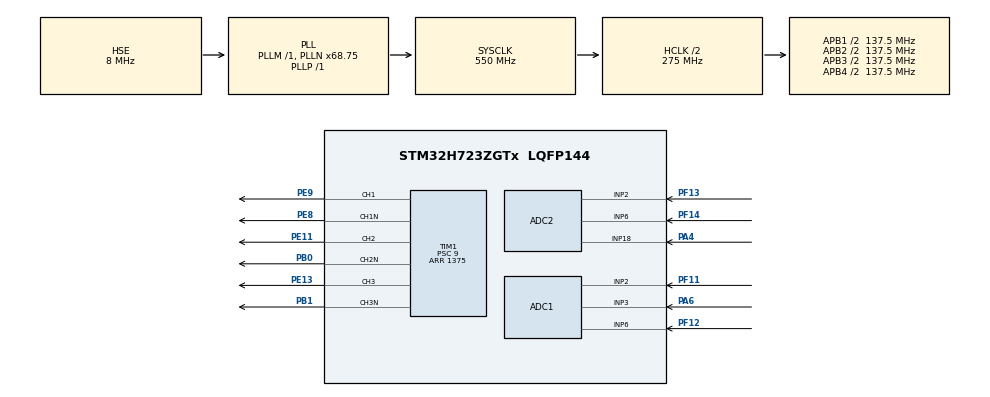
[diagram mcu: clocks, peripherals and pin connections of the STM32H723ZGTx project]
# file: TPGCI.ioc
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ADC1.Channel-1\#ChannelRegularConversion=ADC_CHANNEL_2
ADC1.Channel-2\#ChannelRegularConversion=ADC_CHANNEL_3
ADC1.Channel-3\#ChannelRegularConversion=ADC_CHANNEL_6
ADC1.ClockPrescaler=ADC_CLOCK_ASYNC_DIV4
ADC1.ContinuousConvMode=ENABLE
ADC1.ConversionDataManagement=ADC_CONVERSIONDATA_DMA_CIRCULAR
ADC1.Mode=ADC_MODE_INDEPENDENT
ADC1.NbrOfConversion=3
ADC1.NbrOfConversionFlag=1
ADC1.OffsetNumber-1\#ChannelRegularConversion=ADC_OFFSET_NONE
ADC1.OffsetNumber-2\#ChannelRegularConversion=ADC_OFFSET_NONE
ADC1.OffsetNumber-3\#ChannelRegularConversion=ADC_OFFSET_NONE
ADC1.OffsetSignedSaturation-1\#ChannelRegularConversion=DISABLE
ADC1.OffsetSignedSaturation-2\#ChannelRegularConversion=DISABLE
ADC1.OffsetSignedSaturation-3\#ChannelRegularConversion=DISABLE
ADC1.Rank-1\#ChannelRegularConversion=1
ADC1.Rank-2\#ChannelRegularConversion=2
ADC1.Rank-3\#ChannelRegularConversion=3
ADC1.Ratio=1
ADC1.SamplingTime-1\#ChannelRegularConversion=ADC_SAMPLETIME_64CYCLES_5
ADC1.SamplingTime-2\#ChannelRegularConversion=ADC_SAMPLETIME_64CYCLES_5
ADC1.SamplingTime-3\#ChannelRegularConversion=ADC_SAMPLETIME_64CYCLES_5
ADC1.master=1
ADC2.Channel-1\#ChannelRegularConversion=ADC_CHANNEL_2
ADC2.Channel-2\#ChannelRegularConversion=ADC_CHANNEL_18
ADC2.Channel-3\#ChannelRegularConversion=ADC_CHANNEL_6
ADC2.ClockPrescaler=ADC_CLOCK_ASYNC_DIV4
ADC2.ContinuousConvMode=ENABLE
ADC2.ConversionDataManagement=ADC_CONVERSIONDATA_DMA_CIRCULAR
ADC2.NbrOfConversion=3
ADC2.NbrOfConversionFlag=1
ADC2.OffsetNumber-1\#ChannelRegularConversion=ADC_OFFSET_NONE
ADC2.OffsetNumber-2\#ChannelRegularConversion=ADC_OFFSET_NONE
ADC2.OffsetNumber-3\#ChannelRegularConversion=ADC_OFFSET_NONE
ADC2.OffsetSignedSaturation-1\#ChannelRegularConversion=DISABLE
ADC2.OffsetSignedSaturation-2\#ChannelRegularConversion=DISABLE
ADC2.OffsetSignedSaturation-3\#ChannelRegularConversion=DISABLE
ADC2.Rank-1\#ChannelRegularConversion=1
ADC2.Rank-2\#ChannelRegularConversion=2
ADC2.Rank-3\#ChannelRegularConversion=3
ADC2.Ratio=1
ADC2.SamplingTime-1\#ChannelRegularConversion=ADC_SAMPLETIME_64CYCLES_5
ADC2.SamplingTime-2\#ChannelRegularConversion=ADC_SAMPLETIME_64CYCLES_5
ADC2.SamplingTime-3\#ChannelRegularConversion=ADC_SAMPLETIME_64CYCLES_5
Dma.ADC1.0.Direction=DMA_PERIPH_TO_MEMORY
Dma.ADC1.0.EventEnable=DISABLE
Dma.ADC1.0.FIFOMode=DMA_FIFOMODE_DISABLE
Dma.ADC1.0.Instance=DMA1_Stream0
Dma.ADC1.0.MemDataAlignment=DMA_MDATAALIGN_HALFWORD
Dma.ADC1.0.MemInc=DMA_MINC_ENABLE
Dma.ADC1.0.Mode=DMA_CIRCULAR
Dma.ADC1.0.PeriphDataAlignment=DMA_PDATAALIGN_HALFWORD
Dma.ADC1.0.PeriphInc=DMA_PINC_DISABLE
Dma.ADC1.0.Polarity=HAL_DMAMUX_REQ_GEN_RISING
Dma.ADC1.0.Priority=DMA_PRIORITY_LOW
Dma.ADC1.0.RequestNumber=1
Dma.ADC1.0.SignalID=NONE
Dma.ADC1.0.SyncEnable=DISABLE
Dma.ADC1.0.SyncPolarity=HAL_DMAMUX_SYNC_NO_EVENT
Dma.ADC1.0.SyncRequestNumber=1
Dma.ADC1.0.SyncSignalID=NONE
Dma.ADC2.1.Direction=DMA_PERIPH_TO_MEMORY
Dma.ADC2.1.EventEnable=DISABLE
Dma.ADC2.1.FIFOMode=DMA_FIFOMODE_DISABLE
Dma.ADC2.1.Instance=DMA1_Stream1
Dma.ADC2.1.MemDataAlignment=DMA_MDATAALIGN_HALFWORD
Dma.ADC2.1.MemInc=DMA_MINC_ENABLE
Dma.ADC2.1.Mode=DMA_CIRCULAR
Dma.ADC2.1.PeriphDataAlignment=DMA_PDATAALIGN_HALFWORD
Dma.ADC2.1.PeriphInc=DMA_PINC_DISABLE
Dma.ADC2.1.Polarity=HAL_DMAMUX_REQ_GEN_RISING
Dma.ADC2.1.Priority=DMA_PRIORITY_LOW
Dma.ADC2.1.RequestNumber=1
Dma.ADC2.1.SignalID=NONE
Dma.ADC2.1.SyncEnable=DISABLE
Dma.ADC2.1.SyncPolarity=HAL_DMAMUX_SYNC_NO_EVENT
Dma.ADC2.1.SyncRequestNumber=1
Dma.ADC2.1.SyncSignalID=NONE
Dma.Request0=ADC1
Dma.Request1=ADC2
Mcu.Family=STM32H7
Mcu.Name=STM32H723ZGTx
Mcu.Package=LQFP144
NVIC.DMA1_Stream0_IRQn=true\:0\:0\:false\:false\:true\:false\:true\:true
NVIC.DMA1_Stream1_IRQn=true\:0\:0\:false\:false\:true\:false\:true\:true
NVIC.PriorityGroup=NVIC_PRIORITYGROUP_4
NVIC.TIM1_UP_IRQn=true\:0\:0\:true\:false\:true\:true\:true\:true
NVIC.TIM2_IRQn=true\:0\:0\:false\:false\:true\:true\:true\:true
PA4.Signal=ADCx_INP18
PA6.Signal=ADCx_INP3
PB0.Mode=PWM Generation2 CH2 CH2N
PB0.Signal=TIM1_CH2N
PB1.Mode=PWM Generation3 CH3 CH3N
PB1.Signal=TIM1_CH3N
PE11.Signal=S_TIM1_CH2
PE13.Signal=S_TIM1_CH3
PE8.Mode=PWM Generation1 CH1 CH1N
PE8.Signal=TIM1_CH1N
PE9.Signal=S_TIM1_CH1
PF11.Mode=IN2-Single-Ended
PF11.Signal=ADC1_INP2
PF12.Mode=IN6-Single-Ended
PF12.Signal=ADC1_INP6
PF13.Mode=IN2-Single-Ended
PF13.Signal=ADC2_INP2
PF14.Mode=IN6-Single-Ended
PF14.Signal=ADC2_INP6
PH0-OSC_IN.Mode=HSE-External-Oscillator
PH0-OSC_IN.Signal=RCC_OSC_IN
PH1-OSC_OUT.Mode=HSE-External-Oscillator
PH1-OSC_OUT.Signal=RCC_OSC_OUT
ProjectManager.HeapSize=0x200
ProjectManager.StackSize=0x400
ProjectManager.TargetToolchain=STM32CubeIDE
RCC.ADCFreq_Value=19200000
RCC.APB1Freq_Value=137500000
RCC.APB2Freq_Value=137500000
RCC.APB3Freq_Value=137500000
RCC.APB4Freq_Value=137500000
RCC.CortexFreq_Value=550000000
RCC.D1PPRE=RCC_APB3_DIV2
RCC.D2PPRE1=RCC_APB1_DIV2
RCC.D2PPRE2=RCC_APB2_DIV2
RCC.D3PPRE=RCC_APB4_DIV2
RCC.DIVM1=1
RCC.DIVM2=1
RCC.DIVN1=68
RCC.DIVN2=24
RCC.DIVP1=1
RCC.DIVP2=10
RCC.DIVQ1=4
RCC.HCLKFreq_Value=275000000
RCC.HPRE=RCC_HCLK_DIV2
RCC.HSE_VALUE=8000000
RCC.PLL2FRACN=0
RCC.PLL3FRACN=0
RCC.PLLFRACN=6144
RCC.PLLSourceVirtual=RCC_PLLSOURCE_HSE
RCC.SYSCLKFreq_VALUE=550000000
RCC.SYSCLKSource=RCC_SYSCLKSOURCE_PLLCLK
RCC.USBCLockSelection=RCC_USBCLKSOURCE_HSI48
RCC.USBFreq_Value=48000000
SH.ADCx_INP18.0=ADC2_INP18,IN18-Single-Ended
SH.ADCx_INP3.0=ADC1_INP3,IN3-Single-Ended
SH.S_TIM1_CH1.0=TIM1_CH1,PWM Generation1 CH1 CH1N
SH.S_TIM1_CH2.0=TIM1_CH2,PWM Generation2 CH2 CH2N
SH.S_TIM1_CH3.0=TIM1_CH3,PWM Generation3 CH3 CH3N
TIM1.Channel-PWM\ Generation1\ CH1\ CH1N=TIM_CHANNEL_1
TIM1.Channel-PWM\ Generation2\ CH2\ CH2N=TIM_CHANNEL_2
TIM1.Channel-PWM\ Generation3\ CH3\ CH3N=TIM_CHANNEL_3
TIM1.DeadTime=239
TIM1.Period=1375
TIM1.Prescaler=9
TIM2.Period=1375
TIM2.Prescaler=9
VP_MEMORYMAP_VS_MEMORYMAP.Mode=CurAppReg
VP_TIM2_VS_ClockSourceINT.Mode=Internal
board=NUCLEO-H723ZG

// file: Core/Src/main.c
/* USER CODE BEGIN Header */
/**
  ******************************************************************************
  * @file           : main.c
  * @brief          : Main program body
  ******************************************************************************
  * @attention
  *
  * Copyright (c) 2024 STMicroelectronics.
  * All rights reserved.
  *
  * This software is licensed under terms that can be found in the LICENSE file
  * in the root directory of this software component.
  * If no LICENSE file comes with this software, it is provided AS-IS.
  *
  ******************************************************************************
  */
/* USER CODE END Header */
#include "main.h"

/* USER CODE BEGIN Includes */
#include "TPGCI_2.h"                   /* Model header file */
#include "butterworth_filter.h"

/* USER CODE END Includes */

ADC_HandleTypeDef hadc1;
ADC_HandleTypeDef hadc2;
DMA_HandleTypeDef hdma_adc1;
DMA_HandleTypeDef hdma_adc2;

TIM_HandleTypeDef htim1;
TIM_HandleTypeDef htim2;

/* USER CODE BEGIN PV */
//********************************** Main inputs ******************************//
float VDC = 200.0f;
float IdRef = 3.0f;
float IqRef = 0.0f;
float Vd_g_Max = 200.0f;
float Vd_g_Min = -40.0f;
float vd_FF = 5.0f;
float Id_g_Max = 3.0f;
uint16_t CCRMAX=1375;
float Phase_diff = 0.20943951024f;
float VDC_f 	= 0.0f;
// ******************** Analog to Digital conversion **************************//
float VOLTAGE_R_PHASE 	= 0.0;		//ADC1 Channel 2 pin PF11
float VOLTAGE_Y_PHASE 	= 0.0;		//ADC1 Channel 3 pin PA6
float VOLTAGE_B_PHASE 	= 0.0;		//ADC1 Channel 6 pin PF12
float VOLTAGE_R_OFFSET  = 2.09;
float VOLTAGE_Y_OFFSET  = 2.09;
float VOLTAGE_B_OFFSET  = 2.07;
float VOLTAGE_R_GAIN 	= 0.0033241;
float VOLTAGE_Y_GAIN 	= 0.00334;
float VOLTAGE_B_GAIN 	= 0.00353;
float CURRENT_R_PHASE 	= 0.0;		//ADC1 Channel 2 pin PF11
float CURRENT_Y_PHASE 	= 0.0;		//ADC1 Channel 3 pin PA6
float CURRENT_B_PHASE 	= 0.0;		//ADC1 Channel 6 pin PF12
float CURRENT_R_OFFSET  = 2.0;
float CURRENT_Y_OFFSET  = 2.0;
float CURRENT_B_OFFSET  = 2.0;
float CURRENT_R_GAIN	= 8.87221255199;
float CURRENT_Y_GAIN 	= 8.87221255199;
float CURRENT_B_GAIN 	= 8.87221255199;
float VDC_GAIN 	= 312.109f;
const float VREF 		= 3.3; 			   // Reference voltage (assume 3.3V)
const uint32_t ADC_16bRESOLUTION = 65535;  // 16-bit resolution (0-65535)
const uint32_t ADC_12bRESOLUTION = 4096;   // 16-bit resolution (0-4096)
uint16_t VoltageadcBuffer[3];     //voltage buffer for DMA
uint16_t CurrentadcBuffer[3];     //current buffer for DMA
volatile int32_t CCR1 = 0;
volatile int32_t CCR2 = 0;
volatile int32_t CCR3 = 0;
float Grid_check = 0;
float Grid_init = 0;
float Grid_started = 2;
float Grid_bad = 1;
float Tim1_check=0.0f;
float Tim2_check=0.0f;
float Tim8_check=0.0f;
float ADC1_check=0.0f;
float ADC2_check=0.0f;
// Buffers to hold previous input/output values for each phase
float VoltageR_Input[3] = {0.0f, 0.0f, 0.0f};
float VoltageR_Output[3] = {0.0f, 0.0f, 0.0f};

float VoltageY_Input[3] = {0.0f, 0.0f, 0.0f};
float VoltageY_Output[3] = {0.0f, 0.0f, 0.0f};

float VoltageB_Input[3] = {0.0f, 0.0f, 0.0f};
float VoltageB_Output[3] = {0.0f, 0.0f, 0.0f};
float CurrentR_Input[3] = {0.0f, 0.0f, 0.0f};
float CurrentR_Output[3] = {0.0f, 0.0f, 0.0f};

float CurrentY_Input[3] = {0.0f, 0.0f, 0.0f};
float CurrentY_Output[3] = {0.0f, 0.0f, 0.0f};

float CurrentB_Input[3] = {0.0f, 0.0f, 0.0f};
float CurrentB_Output[3] = {0.0f, 0.0f, 0.0f};

float VDC_Input[3] = {0.0f, 0.0f, 0.0f};
float VDC_Output[3] = {0.0f, 0.0f, 0.0f};
#define BUFFER_SIZE 4

/* USER CODE END PV */

void SystemClock_Config(void);
void PeriphCommonClock_Config(void);
static void MX_GPIO_Init(void);
static void MX_DMA_Init(void);
static void MX_TIM1_Init(void);
static void MX_ADC1_Init(void);
static void MX_ADC2_Init(void);
static void MX_TIM2_Init(void);

int main(void)
{

  /* MCU Configuration--------------------------------------------------------*/

  /* Reset of all peripherals, Initializes the Flash interface and the Systick. */
  HAL_Init();

  /* Configure the system clock */
  SystemClock_Config();

  /* Configure the peripherals common clocks */
  PeriphCommonClock_Config();

  /* Initialize all configured peripherals */
  MX_GPIO_Init();
  MX_DMA_Init();
  MX_TIM1_Init();
  MX_ADC1_Init();
  MX_ADC2_Init();
  MX_TIM2_Init();
  /* USER CODE BEGIN 2 */
//  HAL_TIM_Base_Start_IT(&htim2);
  HAL_TIM_Base_Start_IT(&htim2);
  HAL_TIM_Base_Start_IT(&htim1);
  HAL_TIM_PWM_Start(&htim1, TIM_CHANNEL_1);
  HAL_TIMEx_PWMN_Start(&htim1, TIM_CHANNEL_1);
  HAL_TIM_PWM_Start(&htim1, TIM_CHANNEL_2);
  HAL_TIMEx_PWMN_Start(&htim1, TIM_CHANNEL_2);
  HAL_TIM_PWM_Start(&htim1, TIM_CHANNEL_3);
  HAL_TIMEx_PWMN_Start(&htim1, TIM_CHANNEL_3);

  // Start the ADC in DMA mode, with 3 channels
  HAL_ADC_Start_DMA(&hadc1, (uint32_t*)VoltageadcBuffer, 3);
  HAL_ADC_Start_DMA(&hadc2, (uint32_t*)CurrentadcBuffer, 3);
  TPGCI_2_initialize();

  /* USER CODE END 2 */

  /* Infinite loop */
  while (1)
  {

  }
}

void SystemClock_Config(void)
{
  RCC_OscInitTypeDef RCC_OscInitStruct = {0};
  RCC_ClkInitTypeDef RCC_ClkInitStruct = {0};

  /** Supply configuration update enable
  */
  HAL_PWREx_ConfigSupply(PWR_LDO_SUPPLY);

  /** Configure the main internal regulator output voltage
  */
  __HAL_PWR_VOLTAGESCALING_CONFIG(PWR_REGULATOR_VOLTAGE_SCALE0);

  while(!__HAL_PWR_GET_FLAG(PWR_FLAG_VOSRDY)) {}

  /** Initializes the RCC Oscillators according to the specified parameters
  * in the RCC_OscInitTypeDef structure.
  */
  RCC_OscInitStruct.OscillatorType = RCC_OSCILLATORTYPE_HSE;
  RCC_OscInitStruct.HSEState = RCC_HSE_ON;
  RCC_OscInitStruct.PLL.PLLState = RCC_PLL_ON;
  RCC_OscInitStruct.PLL.PLLSource = RCC_PLLSOURCE_HSE;
  RCC_OscInitStruct.PLL.PLLM = 1;
  RCC_OscInitStruct.PLL.PLLN = 68;
  RCC_OscInitStruct.PLL.PLLP = 1;
  RCC_OscInitStruct.PLL.PLLQ = 4;
  RCC_OscInitStruct.PLL.PLLR = 2;
  RCC_OscInitStruct.PLL.PLLRGE = RCC_PLL1VCIRANGE_3;
  RCC_OscInitStruct.PLL.PLLVCOSEL = RCC_PLL1VCOWIDE;
  RCC_OscInitStruct.PLL.PLLFRACN = 6144;
  if (HAL_RCC_OscConfig(&RCC_OscInitStruct) != HAL_OK)
  {
    Error_Handler();
  }

  /** Initializes the CPU, AHB and APB buses clocks
  */
  RCC_ClkInitStruct.ClockType = RCC_CLOCKTYPE_HCLK|RCC_CLOCKTYPE_SYSCLK
                              |RCC_CLOCKTYPE_PCLK1|RCC_CLOCKTYPE_PCLK2
                              |RCC_CLOCKTYPE_D3PCLK1|RCC_CLOCKTYPE_D1PCLK1;
  RCC_ClkInitStruct.SYSCLKSource = RCC_SYSCLKSOURCE_PLLCLK;
  RCC_ClkInitStruct.SYSCLKDivider = RCC_SYSCLK_DIV1;
  RCC_ClkInitStruct.AHBCLKDivider = RCC_HCLK_DIV2;
  RCC_ClkInitStruct.APB3CLKDivider = RCC_APB3_DIV2;
  RCC_ClkInitStruct.APB1CLKDivider = RCC_APB1_DIV2;
  RCC_ClkInitStruct.APB2CLKDivider = RCC_APB2_DIV2;
  RCC_ClkInitStruct.APB4CLKDivider = RCC_APB4_DIV2;

  if (HAL_RCC_ClockConfig(&RCC_ClkInitStruct, FLASH_LATENCY_3) != HAL_OK)
  {
    Error_Handler();
  }
}

void PeriphCommonClock_Config(void)
{
  RCC_PeriphCLKInitTypeDef PeriphClkInitStruct = {0};

  /** Initializes the peripherals clock
  */
  PeriphClkInitStruct.PeriphClockSelection = RCC_PERIPHCLK_ADC;
  PeriphClkInitStruct.PLL2.PLL2M = 1;
  PeriphClkInitStruct.PLL2.PLL2N = 24;
  PeriphClkInitStruct.PLL2.PLL2P = 10;
  PeriphClkInitStruct.PLL2.PLL2Q = 2;
  PeriphClkInitStruct.PLL2.PLL2R = 2;
  PeriphClkInitStruct.PLL2.PLL2RGE = RCC_PLL2VCIRANGE_3;
  PeriphClkInitStruct.PLL2.PLL2VCOSEL = RCC_PLL2VCOWIDE;
  PeriphClkInitStruct.PLL2.PLL2FRACN = 0;
  PeriphClkInitStruct.AdcClockSelection = RCC_ADCCLKSOURCE_PLL2;
  if (HAL_RCCEx_PeriphCLKConfig(&PeriphClkInitStruct) != HAL_OK)
  {
    Error_Handler();
  }
}

static void MX_ADC1_Init(void)
{

  ADC_MultiModeTypeDef multimode = {0};
  ADC_ChannelConfTypeDef sConfig = {0};

  /** Common config
  */
  hadc1.Instance = ADC1;
  hadc1.Init.ClockPrescaler = ADC_CLOCK_ASYNC_DIV4;
  hadc1.Init.Resolution = ADC_RESOLUTION_16B;
  hadc1.Init.ScanConvMode = ADC_SCAN_ENABLE;
  hadc1.Init.EOCSelection = ADC_EOC_SINGLE_CONV;
  hadc1.Init.LowPowerAutoWait = DISABLE;
  hadc1.Init.ContinuousConvMode = ENABLE;
  hadc1.Init.NbrOfConversion = 3;
  hadc1.Init.DiscontinuousConvMode = DISABLE;
  hadc1.Init.ExternalTrigConv = ADC_SOFTWARE_START;
  hadc1.Init.ExternalTrigConvEdge = ADC_EXTERNALTRIGCONVEDGE_NONE;
  hadc1.Init.ConversionDataManagement = ADC_CONVERSIONDATA_DMA_CIRCULAR;
  hadc1.Init.Overrun = ADC_OVR_DATA_PRESERVED;
  hadc1.Init.LeftBitShift = ADC_LEFTBITSHIFT_NONE;
  hadc1.Init.OversamplingMode = DISABLE;
  hadc1.Init.Oversampling.Ratio = 1;
  if (HAL_ADC_Init(&hadc1) != HAL_OK)
  {
    Error_Handler();
  }

  /** Configure the ADC multi-mode
  */
  multimode.Mode = ADC_MODE_INDEPENDENT;
  if (HAL_ADCEx_MultiModeConfigChannel(&hadc1, &multimode) != HAL_OK)
  {
    Error_Handler();
  }

  /** Configure Regular Channel
  */
  sConfig.Channel = ADC_CHANNEL_2;
  sConfig.Rank = ADC_REGULAR_RANK_1;
  sConfig.SamplingTime = ADC_SAMPLETIME_64CYCLES_5;
  sConfig.SingleDiff = ADC_SINGLE_ENDED;
  sConfig.OffsetNumber = ADC_OFFSET_NONE;
  sConfig.Offset = 0;
  sConfig.OffsetSignedSaturation = DISABLE;
  if (HAL_ADC_ConfigChannel(&hadc1, &sConfig) != HAL_OK)
  {
    Error_Handler();
  }

  /** Configure Regular Channel
  */
  sConfig.Channel = ADC_CHANNEL_3;
  sConfig.Rank = ADC_REGULAR_RANK_2;
  if (HAL_ADC_ConfigChannel(&hadc1, &sConfig) != HAL_OK)
  {
    Error_Handler();
  }

  /** Configure Regular Channel
  */
  sConfig.Channel = ADC_CHANNEL_6;
  sConfig.Rank = ADC_REGULAR_RANK_3;
  if (HAL_ADC_ConfigChannel(&hadc1, &sConfig) != HAL_OK)
  {
    Error_Handler();
  }

}

static void MX_ADC2_Init(void)
{

  ADC_ChannelConfTypeDef sConfig = {0};

  /** Common config
  */
  hadc2.Instance = ADC2;
  hadc2.Init.ClockPrescaler = ADC_CLOCK_ASYNC_DIV4;
  hadc2.Init.Resolution = ADC_RESOLUTION_16B;
  hadc2.Init.ScanConvMode = ADC_SCAN_ENABLE;
  hadc2.Init.EOCSelection = ADC_EOC_SINGLE_CONV;
  hadc2.Init.LowPowerAutoWait = DISABLE;
  hadc2.Init.ContinuousConvMode = ENABLE;
  hadc2.Init.NbrOfConversion = 3;
  hadc2.Init.DiscontinuousConvMode = DISABLE;
  hadc2.Init.ExternalTrigConv = ADC_SOFTWARE_START;
  hadc2.Init.ExternalTrigConvEdge = ADC_EXTERNALTRIGCONVEDGE_NONE;
  hadc2.Init.ConversionDataManagement = ADC_CONVERSIONDATA_DMA_CIRCULAR;
  hadc2.Init.Overrun = ADC_OVR_DATA_PRESERVED;
  hadc2.Init.LeftBitShift = ADC_LEFTBITSHIFT_NONE;
  hadc2.Init.OversamplingMode = DISABLE;
  hadc2.Init.Oversampling.Ratio = 1;
  if (HAL_ADC_Init(&hadc2) != HAL_OK)
  {
    Error_Handler();
  }

  /** Configure Regular Channel
  */
  sConfig.Channel = ADC_CHANNEL_2;
  sConfig.Rank = ADC_REGULAR_RANK_1;
  sConfig.SamplingTime = ADC_SAMPLETIME_64CYCLES_5;
  sConfig.SingleDiff = ADC_SINGLE_ENDED;
  sConfig.OffsetNumber = ADC_OFFSET_NONE;
  sConfig.Offset = 0;
  sConfig.OffsetSignedSaturation = DISABLE;
  if (HAL_ADC_ConfigChannel(&hadc2, &sConfig) != HAL_OK)
  {
    Error_Handler();
  }

  /** Configure Regular Channel
  */
  sConfig.Channel = ADC_CHANNEL_18;
  sConfig.Rank = ADC_REGULAR_RANK_2;
  if (HAL_ADC_ConfigChannel(&hadc2, &sConfig) != HAL_OK)
  {
    Error_Handler();
  }

  /** Configure Regular Channel
  */
  sConfig.Channel = ADC_CHANNEL_6;
  sConfig.Rank = ADC_REGULAR_RANK_3;
  if (HAL_ADC_ConfigChannel(&hadc2, &sConfig) != HAL_OK)
  {
    Error_Handler();
  }

}

static void MX_TIM1_Init(void)
{

  TIM_MasterConfigTypeDef sMasterConfig = {0};
  TIM_OC_InitTypeDef sConfigOC = {0};
  TIM_BreakDeadTimeConfigTypeDef sBreakDeadTimeConfig = {0};

  htim1.Instance = TIM1;
  htim1.Init.Prescaler = 9;
  htim1.Init.CounterMode = TIM_COUNTERMODE_UP;
  htim1.Init.Period = 1375;
  htim1.Init.ClockDivision = TIM_CLOCKDIVISION_DIV1;
  htim1.Init.RepetitionCounter = 0;
  htim1.Init.AutoReloadPreload = TIM_AUTORELOAD_PRELOAD_DISABLE;
  if (HAL_TIM_PWM_Init(&htim1) != HAL_OK)
  {
    Error_Handler();
  }
  sMasterConfig.MasterOutputTrigger = TIM_TRGO_RESET;
  sMasterConfig.MasterOutputTrigger2 = TIM_TRGO2_RESET;
  sMasterConfig.MasterSlaveMode = TIM_MASTERSLAVEMODE_DISABLE;
  if (HAL_TIMEx_MasterConfigSynchronization(&htim1, &sMasterConfig) != HAL_OK)
  {
    Error_Handler();
  }
  sConfigOC.OCMode = TIM_OCMODE_PWM1;
  sConfigOC.Pulse = 0;
  sConfigOC.OCPolarity = TIM_OCPOLARITY_HIGH;
  sConfigOC.OCNPolarity = TIM_OCNPOLARITY_HIGH;
  sConfigOC.OCFastMode = TIM_OCFAST_DISABLE;
  sConfigOC.OCIdleState = TIM_OCIDLESTATE_RESET;
  sConfigOC.OCNIdleState = TIM_OCNIDLESTATE_RESET;
  if (HAL_TIM_PWM_ConfigChannel(&htim1, &sConfigOC, TIM_CHANNEL_1) != HAL_OK)
  {
    Error_Handler();
  }
  if (HAL_TIM_PWM_ConfigChannel(&htim1, &sConfigOC, TIM_CHANNEL_2) != HAL_OK)
  {
    Error_Handler();
  }
  if (HAL_TIM_PWM_ConfigChannel(&htim1, &sConfigOC, TIM_CHANNEL_3) != HAL_OK)
  {
    Error_Handler();
  }
  sBreakDeadTimeConfig.OffStateRunMode = TIM_OSSR_DISABLE;
  sBreakDeadTimeConfig.OffStateIDLEMode = TIM_OSSI_DISABLE;
  sBreakDeadTimeConfig.LockLevel = TIM_LOCKLEVEL_OFF;
  sBreakDeadTimeConfig.DeadTime = 239;
  sBreakDeadTimeConfig.BreakState = TIM_BREAK_DISABLE;
  sBreakDeadTimeConfig.BreakPolarity = TIM_BREAKPOLARITY_HIGH;
  sBreakDeadTimeConfig.BreakFilter = 0;
  sBreakDeadTimeConfig.Break2State = TIM_BREAK2_DISABLE;
  sBreakDeadTimeConfig.Break2Polarity = TIM_BREAK2POLARITY_HIGH;
  sBreakDeadTimeConfig.Break2Filter = 0;
  sBreakDeadTimeConfig.AutomaticOutput = TIM_AUTOMATICOUTPUT_DISABLE;
  if (HAL_TIMEx_ConfigBreakDeadTime(&htim1, &sBreakDeadTimeConfig) != HAL_OK)
  {
    Error_Handler();
  }
  HAL_TIM_MspPostInit(&htim1);

}

static void MX_TIM2_Init(void)
{

  TIM_ClockConfigTypeDef sClockSourceConfig = {0};
  TIM_MasterConfigTypeDef sMasterConfig = {0};

  htim2.Instance = TIM2;
  htim2.Init.Prescaler = 9;
  htim2.Init.CounterMode = TIM_COUNTERMODE_UP;
  htim2.Init.Period = 1375;
  htim2.Init.ClockDivision = TIM_CLOCKDIVISION_DIV1;
  htim2.Init.AutoReloadPreload = TIM_AUTORELOAD_PRELOAD_DISABLE;
  if (HAL_TIM_Base_Init(&htim2) != HAL_OK)
  {
    Error_Handler();
  }
  sClockSourceConfig.ClockSource = TIM_CLOCKSOURCE_INTERNAL;
  if (HAL_TIM_ConfigClockSource(&htim2, &sClockSourceConfig) != HAL_OK)
  {
    Error_Handler();
  }
  sMasterConfig.MasterOutputTrigger = TIM_TRGO_RESET;
  sMasterConfig.MasterSlaveMode = TIM_MASTERSLAVEMODE_DISABLE;
  if (HAL_TIMEx_MasterConfigSynchronization(&htim2, &sMasterConfig) != HAL_OK)
  {
    Error_Handler();
  }

}

static void MX_DMA_Init(void)
{

  /* DMA controller clock enable */
  __HAL_RCC_DMA1_CLK_ENABLE();

  /* DMA interrupt init */
  /* DMA1_Stream0_IRQn interrupt configuration */
  HAL_NVIC_SetPriority(DMA1_Stream0_IRQn, 0, 0);
  HAL_NVIC_EnableIRQ(DMA1_Stream0_IRQn);
  /* DMA1_Stream1_IRQn interrupt configuration */
  HAL_NVIC_SetPriority(DMA1_Stream1_IRQn, 0, 0);
  HAL_NVIC_EnableIRQ(DMA1_Stream1_IRQn);

}

static void MX_GPIO_Init(void)
{

  /* GPIO Ports Clock Enable */
  __HAL_RCC_GPIOH_CLK_ENABLE();
  __HAL_RCC_GPIOA_CLK_ENABLE();
  __HAL_RCC_GPIOB_CLK_ENABLE();
  __HAL_RCC_GPIOF_CLK_ENABLE();
  __HAL_RCC_GPIOE_CLK_ENABLE();

}

/* USER CODE BEGIN 4 */
void HAL_TIM_PeriodElapsedCallback(TIM_HandleTypeDef *htim) {

	// checking whether the elapsed timer is TIM1 or not
    if (htim->Instance == TIM1) {
    	__HAL_TIM_SET_COMPARE(&htim1, TIM_CHANNEL_1, PWMCH1);
    	__HAL_TIM_SET_COMPARE(&htim1, TIM_CHANNEL_2, PWMCH2);
    	__HAL_TIM_SET_COMPARE(&htim1, TIM_CHANNEL_3, PWMCH3);
    	rtU.VDC=VDC;
    	rtU.CCRMAX=CCRMAX;
    	rtU.Vd_FF=vd_FF;
    	Tim1_check++;
    }

    if (htim->Instance == TIM2) {
    	vr_g=VOLTAGE_R_PHASE;
		vy_g=VOLTAGE_Y_PHASE;
		vb_g=VOLTAGE_B_PHASE;
		ir=CURRENT_R_PHASE;
		iy=CURRENT_Y_PHASE;
		ib=CURRENT_B_PHASE;
    	rtU.Id_ref=IdRef;
    	rtU.Iq_ref=IqRef;
    	rtU.Phase_dif=Phase_diff;
    	TPGCI_2_step();
    	Tim2_check++;
    }

}

void HAL_ADC_ConvCpltCallback(ADC_HandleTypeDef* hadc)
{
    if (hadc->Instance == ADC1)
    {
    	ADC1_check++;
        // Convert the raw ADC values to voltages (0 to 3.3V scale)
    	float rawR = ((((float)VoltageadcBuffer[0] * VREF) / ADC_16bRESOLUTION)-VOLTAGE_R_OFFSET)/VOLTAGE_R_GAIN;
    	float rawY = ((((float)VoltageadcBuffer[1] * VREF) / ADC_16bRESOLUTION)-VOLTAGE_Y_OFFSET)/VOLTAGE_Y_GAIN;
    	float rawB = ((((float)VoltageadcBuffer[2] * VREF) / ADC_16bRESOLUTION)-VOLTAGE_B_OFFSET)/VOLTAGE_B_GAIN;
        // Apply the filter to each phase voltage
        VOLTAGE_R_PHASE = applyLowPassFilter(rawR, VoltageR_Input, VoltageR_Output);
        VOLTAGE_Y_PHASE = applyLowPassFilter(rawY, VoltageY_Input, VoltageY_Output);
        VOLTAGE_B_PHASE = applyLowPassFilter(rawB, VoltageB_Input, VoltageB_Output);
    }

    if (hadc->Instance == ADC2)
    {
    	ADC2_check++;
    	float rawIR = ((((float)CurrentadcBuffer[0] * VREF) / ADC_16bRESOLUTION)-CURRENT_R_OFFSET)*CURRENT_R_GAIN;
    	float rawIY = ((((float)CurrentadcBuffer[1] * VREF) / ADC_16bRESOLUTION)-CURRENT_Y_OFFSET)*CURRENT_Y_GAIN;
    	float rawIB = ((((float)CurrentadcBuffer[2] * VREF) / ADC_16bRESOLUTION)-CURRENT_B_OFFSET)*CURRENT_B_GAIN;
    	CURRENT_R_PHASE = applyLowPassFilter(rawIR, CurrentR_Input, CurrentR_Output);
    	CURRENT_Y_PHASE = applyLowPassFilter(rawIY, CurrentY_Input, CurrentY_Output);
    	CURRENT_B_PHASE = applyLowPassFilter(rawIB, CurrentB_Input, CurrentB_Output);
    }
}
/* USER CODE END 4 */

void Error_Handler(void)
{
  __disable_irq();
  while (1)
  {
  }
}
